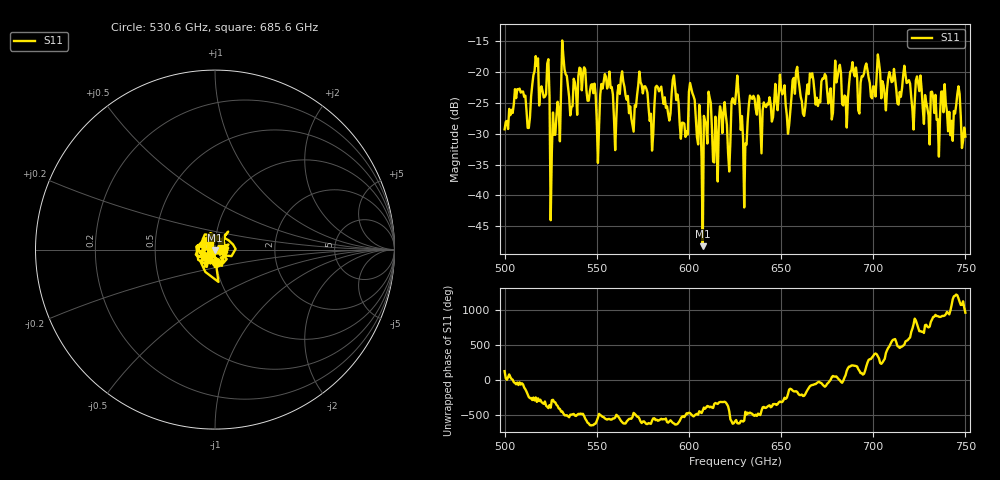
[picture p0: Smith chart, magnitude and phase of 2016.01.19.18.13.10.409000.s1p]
!Created with skrf (http://scikit-rf.org).
# GHz S RI R 50.0
!freq ReS11 ImS11
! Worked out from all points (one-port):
!   401 points, 500 GHz to 750 GHz, reference 50 ohm
!   lowest |S11| = -48.3 dB at 607.5 GHz (marker M1), VSWR 1.01, Z = 50.1 - j0.369 ohm
!   |S11| at or under -10 dB: start of sweep to end of sweep
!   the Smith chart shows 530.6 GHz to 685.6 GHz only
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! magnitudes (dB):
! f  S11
! 500 GHz  -29.3
! 506.9 GHz  -22.7
! 513.1 GHz  -29.1
! 516.9 GHz  -17.4
! 523.1 GHz  -18.6
! 526.2 GHz  -26.5
! 531.2 GHz  -14.8
! 550.6 GHz  -34.7
! 562.5 GHz  -23.5
! 568.8 GHz  -27.5
! 574.4 GHz  -22.0
! 579.4 GHz  -26.8
! 583.1 GHz  -22.4
! 593.8 GHz  -23.6
! 598.1 GHz  -30.5
! 601.9 GHz  -23.4
! 607.5 GHz  -48.3
! 610.6 GHz  -23.2
! 621.2 GHz  -33.1
! 625 GHz  -25.2
! 630.6 GHz  -31.6
! 633.8 GHz  -24.2
! 656.2 GHz  -21.3
! 687.5 GHz  -19.9
! 718.8 GHz  -21.6
! 741.9 GHz  -30.2
! 746.2 GHz  -22.3
! 750 GHz  -30.5
